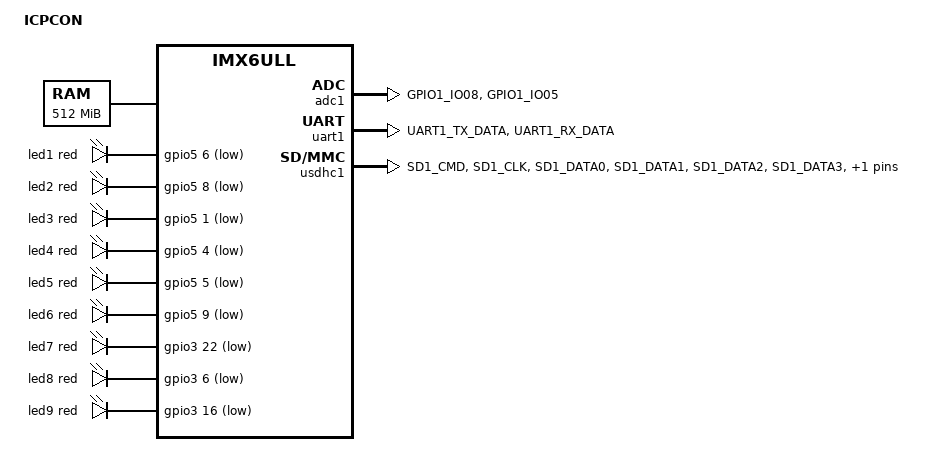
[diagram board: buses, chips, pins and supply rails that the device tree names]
/*
 * Copyright (C) 2016 Freescale Semiconductor, Inc.
 *
 * This program is free software; you can redistribute it and/or modify
 * it under the terms of the GNU General Public License version 2 as
 * published by the Free Software Foundation.
 */

/dts-v1/;

#include <dt-bindings/input/input.h>
#include <dt-bindings/gpio/gpio.h>
#include <dt-bindings/leds/common.h>
#include "imx6ull.dtsi"

/ {
	model = "ICPCON";
	compatible = "wirelessroad,icpcon-imx6ull", "fsl,imx6ull";

	chosen {
		stdout-path = &uart1;
		bootargs = "console=ttymxc0,115200 rootwait fixrtc quiet";
	};

	memory@80000000 {
        device_type = "memory";
		reg = <0x80000000 0x20000000>;
	};

	aliases {
		cpu0 = &cpu0;
		can1 = &can1;
		can2 = &can2;
		clks = &clks;
		fec1 = &fec1;
		fec2 = &fec2;
		csi = &csi;
		ecspi3 = &ecspi3;
		gpc = &gpc;
		gpmi = &gpmi;
		iomuxc = &iomuxc;
		pwm4 = &pwm4;
		adc1 = &adc1;
		usbotg1 = &usbotg1;
		usbotg2 = &usbotg2;
		usdhc1 = &usdhc1;
		wdog1 = &wdog1;
	};

	leds {
		compatible = "gpio-leds";

		led1 {
			label = "led1";
			gpios = <&gpio5 6 GPIO_ACTIVE_LOW>;
			color = <LED_COLOR_ID_RED>;
			default-state = "on";
		};

		led2 {
			label = "led2";
			gpios = <&gpio5 8 GPIO_ACTIVE_LOW>;
			color = <LED_COLOR_ID_RED>;
			default-state = "off";
		};

		led3 {
			label = "led3";
			gpios = <&gpio5 1 GPIO_ACTIVE_LOW>;
			color = <LED_COLOR_ID_RED>;
			default-state = "off";
		};

		led4 {
			label = "led4";
			gpios = <&gpio5 4 GPIO_ACTIVE_LOW>;
			color = <LED_COLOR_ID_RED>;
			default-state = "off";
		};

		led5 {
			label = "led5";
			gpios = <&gpio5 5 GPIO_ACTIVE_LOW>;
			color = <LED_COLOR_ID_RED>;
			default-state = "off";
		};

		led6 {
			label = "led6";
			gpios = <&gpio5 9 GPIO_ACTIVE_LOW>;
			color = <LED_COLOR_ID_RED>;
			default-state = "off";
		};

		led7 {
			label = "led7";
			gpios = <&gpio3 22 GPIO_ACTIVE_LOW>;
			color = <LED_COLOR_ID_RED>;
			default-state = "off";
		};
		led8 {
			label = "led8";
			gpios = <&gpio3 6 GPIO_ACTIVE_LOW>;
			color = <LED_COLOR_ID_RED>;
			default-state = "off";
		};


		led9 {
			label = "led9";
			gpios = <&gpio3 16 GPIO_ACTIVE_LOW>;
			color = <LED_COLOR_ID_RED>;
			default-state = "off";
		};
	};
};

#include "wr_cpu.dtsi"
#include "wr_partitions.dtsi"
#include "wr_ethernet.dtsi"
#include "wr_usb.dtsi"
#include "wr_watchdog.dtsi"


&clks {
	assigned-clocks = <&clks IMX6UL_CLK_PLL4_AUDIO_DIV>;
	assigned-clock-rates = <786432000>;
};

&gpc {
	fsl,cpu_pupscr_sw2iso = <0x1>;
	fsl,cpu_pupscr_sw = <0x0>;
	fsl,cpu_pdnscr_iso2sw = <0x1>;
	fsl,cpu_pdnscr_iso = <0x1>;
	fsl,ldo-bypass = <0>; /* DCDC, ldo-enable */
};

&iomuxc_snvs {
	pinctrl-names = "default_snvs";

	pinctrl_snvs_leds1: snvs-leds-grp {
		fsl,pins = <
			MX6UL_PAD_SNVS_TAMPER4__GPIO5_IO04	0x10b0 /* led 1 */
			MX6UL_PAD_SNVS_TAMPER5__GPIO5_IO05	0x10b0 /* led 2 */
			MX6UL_PAD_SNVS_TAMPER9__GPIO5_IO09	0x10b0 /* led 3 */
			MX6UL_PAD_SNVS_TAMPER1__GPIO5_IO01	0x10b0 /* led 4 */
			MX6UL_PAD_SNVS_TAMPER6__GPIO5_IO06	0x10b0 /* led 7 */
			MX6UL_PAD_SNVS_TAMPER8__GPIO5_IO08  0x10b0 /* led 8 */
			MX6UL_PAD_SNVS_TAMPER7__GPIO5_IO07	0x10b0 /* DI_2 */
		>;
	};
	pinctrl_snvs_ao1: snvs-ao-grp {
		fsl,pins = <
			MX6UL_PAD_SNVS_TAMPER0__GPIO5_IO00  0x10b0 /* AO_1 */
			MX6UL_PAD_SNVS_TAMPER3__GPIO5_IO03	0x10b0 /* AO_2 */
		>;
	};
};

&iomuxc {
	pinctrl-names = "default";
	pinctrl-0 = <&pinctrl_hog_1>;
	imx6ul-evk {
		pinctrl_hog_1: hoggrp-1 {
			fsl,pins = <
				MX6UL_PAD_UART1_RTS_B__GPIO1_IO19	0x17059 /* SD1 CD */
			>;
		};

		pinctrl_gpios: gpiogrp1 {
			fsl,pins = <
				MX6UL_PAD_LCD_DATA17__GPIO3_IO22	0x10b0 /* led 5 */
				MX6UL_PAD_LCD_DATA01__GPIO3_IO06	0x10b0 /* led 6 */
				MX6UL_PAD_LCD_DATA11__GPIO3_IO16	0x10b0 /* led 9 */
				MX6UL_PAD_LCD_ENABLE__GPIO3_IO01	0x10b0 /* DI_1 */
			>;
		};

		pinctrl_uart1: uart1grp {
			fsl,pins = <
				MX6UL_PAD_UART1_TX_DATA__UART1_DCE_TX 0x1b0b1
				MX6UL_PAD_UART1_RX_DATA__UART1_DCE_RX 0x1b0b1
			>;
		};

		pinctrl_adc1: adc1grp {
			fsl,pins = <
				MX6UL_PAD_GPIO1_IO08__GPIO1_IO08        0xb0
				MX6UL_PAD_GPIO1_IO05__GPIO1_IO05        0xb0
			>;
		};

		pinctrl_ecspi3_0: ecspi3grp-0 {
			fsl,pins = <
				MX6UL_PAD_UART2_CTS_B__ECSPI3_MOSI	0x110b1
				MX6UL_PAD_UART2_RTS_B__ECSPI3_MISO	0x110b1
				MX6UL_PAD_UART2_RX_DATA__ECSPI3_SCLK	0x110b1
				MX6UL_PAD_UART2_TX_DATA__GPIO1_IO20	0x10b0
			>;
		};

		pinctrl_usb_otg1_id: usbotg1idgrp {
			fsl,pins = <
				MX6UL_PAD_GPIO1_IO00__ANATOP_OTG1_ID	0x17059
			>;
		};

		pinctrl_enet1: enet1grp {
			fsl,pins = <
				MX6UL_PAD_GPIO1_IO07__ENET1_MDC         0x1b0b0
				MX6UL_PAD_GPIO1_IO06__ENET1_MDIO	0x1b0b0
				MX6UL_PAD_ENET1_RX_EN__ENET1_RX_EN	0x1b0b0
				MX6UL_PAD_ENET1_RX_ER__ENET1_RX_ER	0x1b0b0
				MX6UL_PAD_ENET1_RX_DATA0__ENET1_RDATA00	0x1b0b0
				MX6UL_PAD_ENET1_RX_DATA1__ENET1_RDATA01	0x1b0b0
				MX6UL_PAD_ENET1_TX_EN__ENET1_TX_EN	0x1b0b0
				MX6UL_PAD_ENET1_TX_DATA0__ENET1_TDATA00	0x1b0b0
				MX6UL_PAD_ENET1_TX_DATA1__ENET1_TDATA01	0x1b0b0
				MX6UL_PAD_ENET1_TX_CLK__ENET1_REF_CLK1	0x4001b031
			>;
		};

		pinctrl_enet2: enet2grp {
			fsl,pins = <
				MX6UL_PAD_ENET2_RX_EN__ENET2_RX_EN      0x1b0b0
				MX6UL_PAD_ENET2_RX_ER__ENET2_RX_ER      0x1b0b0
				MX6UL_PAD_ENET2_RX_DATA0__ENET2_RDATA00 0x1b0b0
				MX6UL_PAD_ENET2_RX_DATA1__ENET2_RDATA01 0x1b0b0
				MX6UL_PAD_ENET2_TX_EN__ENET2_TX_EN      0x1b0b0
				MX6UL_PAD_ENET2_TX_DATA0__ENET2_TDATA00 0x1b0b0
				MX6UL_PAD_ENET2_TX_DATA1__ENET2_TDATA01 0x1b0b0
				MX6UL_PAD_ENET2_TX_CLK__ENET2_REF_CLK2  0x4001b031
			>;
		};


		pinctrl_pwm4: pwm4grp {
			fsl,pins = <
				MX6UL_PAD_GPIO1_IO05__PWM4_OUT   0x110b0
			>;
		};

		pinctrl_usdhc1: usdhc1grp {
			fsl,pins = <
				MX6UL_PAD_SD1_CMD__USDHC1_CMD     0x17059
				MX6UL_PAD_SD1_CLK__USDHC1_CLK     0x10071
				MX6UL_PAD_SD1_DATA0__USDHC1_DATA0 0x17059
				MX6UL_PAD_SD1_DATA1__USDHC1_DATA1 0x17059
				MX6UL_PAD_SD1_DATA2__USDHC1_DATA2 0x17059
				MX6UL_PAD_SD1_DATA3__USDHC1_DATA3 0x17059
			>;
		};

		pinctrl_usdhc1_100mhz: usdhc1grp100mhz {
			fsl,pins = <
				MX6UL_PAD_SD1_CMD__USDHC1_CMD     0x170b9
				MX6UL_PAD_SD1_CLK__USDHC1_CLK     0x100b9
				MX6UL_PAD_SD1_DATA0__USDHC1_DATA0 0x170b9
				MX6UL_PAD_SD1_DATA1__USDHC1_DATA1 0x170b9
				MX6UL_PAD_SD1_DATA2__USDHC1_DATA2 0x170b9
				MX6UL_PAD_SD1_DATA3__USDHC1_DATA3 0x170b9
			>;
		};

		pinctrl_usdhc1_200mhz: usdhc1grp200mhz {
			fsl,pins = <
				MX6UL_PAD_SD1_CMD__USDHC1_CMD     0x170f9
				MX6UL_PAD_SD1_CLK__USDHC1_CLK     0x100f9
				MX6UL_PAD_SD1_DATA0__USDHC1_DATA0 0x170f9
				MX6UL_PAD_SD1_DATA1__USDHC1_DATA1 0x170f9
				MX6UL_PAD_SD1_DATA2__USDHC1_DATA2 0x170f9
				MX6UL_PAD_SD1_DATA3__USDHC1_DATA3 0x170f9
			>;
		};

		pinctrl_wdog: wdoggrp {
			fsl,pins = <
				MX6UL_PAD_LCD_RESET__WDOG1_WDOG_ANY    0x30b0
			>;
		};

	};
};

&adc1 {
	pinctrl-names = "default";
	pinctrl-0 = <&pinctrl_adc1>;
	num-channels = <1>;
	adc-ch-list = <8>;
	status = "okay";
};

&uart1 {
	pinctrl-names = "default";
	pinctrl-0 = <&pinctrl_uart1>;
	status = "okay";
};

&usdhc1 {
	pinctrl-names = "default";
	pinctrl-0 = <&pinctrl_usdhc1>;
	cd-gpios = <&gpio1 19 GPIO_ACTIVE_LOW>;
	keep-power-in-suspend;
	enable-sdio-wakeup;
	status = "okay";
};
